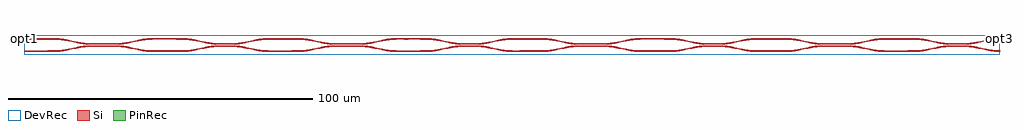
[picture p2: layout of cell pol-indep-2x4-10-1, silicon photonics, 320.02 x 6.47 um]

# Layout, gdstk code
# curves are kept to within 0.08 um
import gdstk
lib = gdstk.Library(unit=1e-6, precision=1e-09)
def R(c, l, rs):  # rectangles x0, y0, x1, y1
    for r in rs: c.add(gdstk.rectangle(r[:2], r[2:], *l))
def P(c, l, *ps):  # polygons
    for p in ps: c.add(gdstk.Polygon(p, *l))
Si = (1, 0)
PinRec = (1, 10)
DevRec = (68, 0)

layer_0_0_phase_sec_0_4 = lib.new_cell('layer-0_0_phase_sec_0$4')
P(layer_0_0_phase_sec_0_4, Si, [(0,-0.225),(0,0.225),(10,0.225),(10,-0.225)])

layer_0_0_phase_sec_1_4 = lib.new_cell('layer-0_0_phase_sec_1$4')
P(layer_0_0_phase_sec_1_4, Si, [(0,-0.225),(0,0.225),(10,0.225),(10,-0.225)])

dc_arm_up_8_4 = lib.new_cell('dc_arm_up_8$4')
R(dc_arm_up_8_4, Si, [(12,0.1,20,0.55)])
P(dc_arm_up_8_4, Si, [(12,0.1),(10.861,0.137),(9.344,0.292),(2.966,1.532),(1.481,1.712),(0,1.775),(0,2.225),(1.139,2.188),(2.656,2.033),(9.034,0.793),(10.519,0.613),(12,0.55)],
  [(20,0.1),(20,0.55),(21.481,0.613),(22.966,0.793),(29.344,2.033),(30.861,2.188),(32,2.225),(32,1.775),(30.519,1.712),(29.034,1.532),(22.656,0.292),(21.139,0.137)])

dc_arm_down_8_4 = lib.new_cell('dc_arm_down_8$4')
R(dc_arm_down_8_4, Si, [(12,-0.55,20,-0.1)])
P(dc_arm_down_8_4, Si, [(0,-2.225),(0,-1.775),(1.481,-1.712),(2.966,-1.532),(9.344,-0.292),(10.861,-0.137),(12,-0.1),(12,-0.55),(10.519,-0.613),(9.034,-0.793),(2.656,-2.033),(1.139,-2.188)],
  [(32,-2.225),(30.861,-2.188),(29.344,-2.033),(22.966,-0.793),(21.481,-0.613),(20,-0.55),(20,-0.1),(21.139,-0.137),(22.656,-0.292),(29.034,-1.532),(30.519,-1.712),(32,-1.775)])

dc_8_4 = lib.new_cell('dc_8$4')
dc_8_4.add(gdstk.Reference(dc_arm_up_8_4, (0,0)))
dc_8_4.add(gdstk.Reference(dc_arm_down_8_4, (0,0)))

layer_0_0_phase_sec_2_4 = lib.new_cell('layer-0_0_phase_sec_2$4')
P(layer_0_0_phase_sec_2_4, Si, [(0,-0.225),(0,0.225),(1.307,0.176),(6.537,0.175),(10,0.225),(10,-0.225),(6.537,-0.175),(1.307,-0.176)])

layer_0_0_phase_sec_3_4 = lib.new_cell('layer-0_0_phase_sec_3$4')
P(layer_0_0_phase_sec_3_4, Si, [(0,-0.225),(0,0.225),(10,0.225),(10,-0.225)])

dc_arm_up_4_4 = lib.new_cell('dc_arm_up_4$4')
R(dc_arm_up_4_4, Si, [(12,0.1,16,0.55)])
P(dc_arm_up_4_4, Si, [(12,0.1),(10.861,0.137),(9.344,0.292),(2.966,1.532),(1.481,1.712),(0,1.775),(0,2.225),(1.139,2.188),(2.656,2.033),(9.034,0.793),(10.519,0.613),(12,0.55)],
  [(16,0.1),(16,0.55),(17.481,0.613),(18.966,0.793),(25.344,2.033),(26.861,2.188),(28,2.225),(28,1.775),(26.519,1.712),(25.034,1.532),(18.656,0.292),(17.139,0.137)])

dc_arm_down_4_4 = lib.new_cell('dc_arm_down_4$4')
R(dc_arm_down_4_4, Si, [(12,-0.55,16,-0.1)])
P(dc_arm_down_4_4, Si, [(0,-2.225),(0,-1.775),(1.481,-1.712),(2.966,-1.532),(9.344,-0.292),(10.861,-0.137),(12,-0.1),(12,-0.55),(10.519,-0.613),(9.034,-0.793),(2.656,-2.033),(1.139,-2.188)],
  [(28,-2.225),(26.861,-2.188),(25.344,-2.033),(18.966,-0.793),(17.481,-0.613),(16,-0.55),(16,-0.1),(17.139,-0.137),(18.656,-0.292),(25.034,-1.532),(26.519,-1.712),(28,-1.775)])

dc_4_4 = lib.new_cell('dc_4$4')
dc_4_4.add(gdstk.Reference(dc_arm_up_4_4, (0,0)))
dc_4_4.add(gdstk.Reference(dc_arm_down_4_4, (0,0)))

layer_1_0_phase_sec_0_4 = lib.new_cell('layer-1_0_phase_sec_0$4')
P(layer_1_0_phase_sec_0_4, Si, [(0,-0.225),(0,0.225),(10,0.225),(10,-0.225)])

layer_1_0_phase_sec_1_4 = lib.new_cell('layer-1_0_phase_sec_1$4')
P(layer_1_0_phase_sec_1_4, Si, [(0,-0.225),(0,0.225),(10,0.225),(10,-0.225)])

layer_1_0_phase_sec_2_4 = lib.new_cell('layer-1_0_phase_sec_2$4')
P(layer_1_0_phase_sec_2_4, Si, [(0,-0.225),(0,0.225),(6.544,0.176),(10,0.225),(10,-0.225),(6.544,-0.176)])

layer_1_0_phase_sec_3_4 = lib.new_cell('layer-1_0_phase_sec_3$4')
P(layer_1_0_phase_sec_3_4, Si, [(0,-0.225),(0,0.225),(10,0.225),(10,-0.225)])

layer_2_0_phase_sec_0_4 = lib.new_cell('layer-2_0_phase_sec_0$4')
P(layer_2_0_phase_sec_0_4, Si, [(6.576,-0.238),(0,-0.225),(0,0.225),(10,0.225),(10,-0.225)])

layer_2_0_phase_sec_1_4 = lib.new_cell('layer-2_0_phase_sec_1$4')
P(layer_2_0_phase_sec_1_4, Si, [(0,-0.225),(0,0.225),(10,0.225),(10,-0.225)])

layer_2_0_phase_sec_2_4 = lib.new_cell('layer-2_0_phase_sec_2$4')
P(layer_2_0_phase_sec_2_4, Si, [(0,-0.225),(0,0.225),(2.621,0.175),(10,0.225),(10,-0.225),(3.931,-0.175)])

layer_2_0_phase_sec_3_4 = lib.new_cell('layer-2_0_phase_sec_3$4')
P(layer_2_0_phase_sec_3_4, Si, [(0,-0.225),(0,0.225),(10,0.225),(10,-0.225)])

layer_3_0_phase_sec_0_4 = lib.new_cell('layer-3_0_phase_sec_0$4')
P(layer_3_0_phase_sec_0_4, Si, [(0,-0.225),(0,0.225),(10,0.225),(10,-0.225)])

layer_3_0_phase_sec_1_4 = lib.new_cell('layer-3_0_phase_sec_1$4')
P(layer_3_0_phase_sec_1_4, Si, [(0,-0.225),(0,0.225),(10,0.225),(10,-0.225)])

layer_3_0_phase_sec_2_4 = lib.new_cell('layer-3_0_phase_sec_2$4')
P(layer_3_0_phase_sec_2_4, Si, [(3.954,-0.241),(0,-0.225),(0,0.225),(10,0.225),(10,-0.225)])

layer_3_0_phase_sec_3_4 = lib.new_cell('layer-3_0_phase_sec_3$4')
P(layer_3_0_phase_sec_3_4, Si, [(0,-0.225),(0,0.225),(10,0.225),(10,-0.225)])

pol_indep_2x4_10_1 = lib.new_cell('pol-indep-2x4-10-1')
R(pol_indep_2x4_10_1, DevRec, [(0,-1,320,5.466)])
pol_indep_2x4_10_1.add(gdstk.FlexPath([(0.01,4.225),(-0.01,4.225)], 0.45, ends="flush", simple_path=True, layer=1, datatype=10))  # PinRec
pol_indep_2x4_10_1.add(gdstk.FlexPath([(319.99,4.225),(320.01,4.225)], 0.45, ends="flush", simple_path=True, layer=1, datatype=10))  # PinRec
pol_indep_2x4_10_1.add(gdstk.FlexPath([(319.99,0.225),(320.01,0.225)], 0.45, ends="flush", simple_path=True, layer=1, datatype=10))  # PinRec
pol_indep_2x4_10_1.add(gdstk.Reference(layer_0_0_phase_sec_0_4, (0,4.225)))
pol_indep_2x4_10_1.add(gdstk.Reference(layer_0_0_phase_sec_1_4, (0,0.225)))
pol_indep_2x4_10_1.add(gdstk.Reference(dc_8_4, (10,2.225)))
pol_indep_2x4_10_1.add(gdstk.Reference(layer_0_0_phase_sec_2_4, (42,4.225)))
pol_indep_2x4_10_1.add(gdstk.Reference(layer_0_0_phase_sec_3_4, (42,0.225)))
pol_indep_2x4_10_1.add(gdstk.Reference(dc_4_4, (52,2.225)))
pol_indep_2x4_10_1.add(gdstk.Reference(layer_1_0_phase_sec_0_4, (80,4.225)))
pol_indep_2x4_10_1.add(gdstk.Reference(layer_1_0_phase_sec_1_4, (80,0.225)))
pol_indep_2x4_10_1.add(gdstk.Reference(dc_8_4, (90,2.225)))
pol_indep_2x4_10_1.add(gdstk.Reference(layer_1_0_phase_sec_2_4, (122,4.225)))
pol_indep_2x4_10_1.add(gdstk.Reference(layer_1_0_phase_sec_3_4, (122,0.225)))
pol_indep_2x4_10_1.add(gdstk.Reference(dc_4_4, (132,2.225)))
pol_indep_2x4_10_1.add(gdstk.Reference(layer_2_0_phase_sec_0_4, (160,4.225)))
pol_indep_2x4_10_1.add(gdstk.Reference(layer_2_0_phase_sec_1_4, (160,0.225)))
pol_indep_2x4_10_1.add(gdstk.Reference(dc_8_4, (170,2.225)))
pol_indep_2x4_10_1.add(gdstk.Reference(layer_2_0_phase_sec_2_4, (202,4.225)))
pol_indep_2x4_10_1.add(gdstk.Reference(layer_2_0_phase_sec_3_4, (202,0.225)))
pol_indep_2x4_10_1.add(gdstk.Reference(dc_4_4, (212,2.225)))
pol_indep_2x4_10_1.add(gdstk.Reference(layer_3_0_phase_sec_0_4, (240,4.225)))
pol_indep_2x4_10_1.add(gdstk.Reference(layer_3_0_phase_sec_1_4, (240,0.225)))
pol_indep_2x4_10_1.add(gdstk.Reference(dc_8_4, (250,2.225)))
pol_indep_2x4_10_1.add(gdstk.Reference(layer_3_0_phase_sec_2_4, (282,4.225)))
pol_indep_2x4_10_1.add(gdstk.Reference(layer_3_0_phase_sec_3_4, (282,0.225)))
pol_indep_2x4_10_1.add(gdstk.Reference(dc_4_4, (292,2.225)))
pol_indep_2x4_10_1.add(gdstk.Label('opt1', (0,4.225), layer=1, texttype=10))
pol_indep_2x4_10_1.add(gdstk.Label('opt3', (320,4.225), layer=1, texttype=10))
pol_indep_2x4_10_1.add(gdstk.Label('opt4', (320,0.225), layer=1, texttype=10))

lib.write_gds('pol-indep-2x4-10-1.gds')
